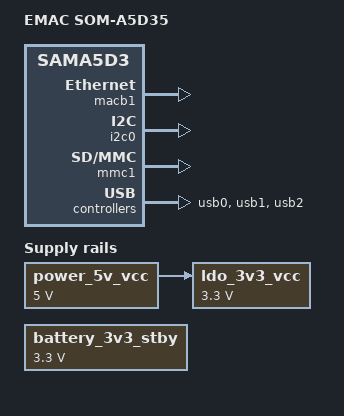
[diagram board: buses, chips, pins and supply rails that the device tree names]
/*
 * som-a5d36.dtsi - Device Tree inclue file for the SOM-A5D36 with SOM-2xx carriers.
 *
 * Copyright (C) 2023 EMAC Inc.
 *
 * This program is free software; you can redistribute it and/or modify
 * it under the terms of the GNU General Public License version 2 as
 * published by the Free Software Foundation.
 */

/dts-v1/;
#include "som-a5d35-bare.dtsi"

/ {
	model = "EMAC SOM-A5D35";
	compatible = "emac,soma5d35", "atmel,sama5d35", "atmel,sama5d3", "atmel,sama5";
	
	regulators {
		power_5v_vcc: power_5v_vcc {
			compatible = "regulator-fixed";
			regulator-name = "POWER";
			regulator-min-microvolt = <5000000>;
			regulator-max-microvolt = <5000000>;
			regulator-always-on;
		};
		ldo_3v3_vcc: ldo_3v3_vcc {
			compatible = "regulator-fixed";
			regulator-name = "3V3_LDO";
			regulator-min-microvolt = <3300000>;
			regulator-max-microvolt = <3300000>;
			regulator-always-on;
			vin-supply = <&power_5v_vcc>;
		};
		battery_3v3_stby: battery_3v3_stby {
			compatible = "regulator-fixed";
			regulator-name = "BATTERY";
			regulator-min-microvolt = <3300000>;
			regulator-max-microvolt = <3300000>;
			regulator-always-on;
		};
		rail_3v3_vcc {
			vin-supply = <&ldo_3v3_vcc>;
		};
		rail_3v3_stby {
			vin-supply = <&battery_3v3_stby>;
		};
	};
};

&macb1 {
	status = "okay";
};

&i2c0 {
	status = "okay";
};

&mmc1 {
	pinctrl-names = "default";
	pinctrl-0 = <&pinctrl_mmc1_clk_cmd_dat0 &pinctrl_mmc1_dat1_3>;
	status = "okay";
	slot@0 {
		reg = <0>;
		bus-width = <4>;
		cd-gpios = <&pioC 13 GPIO_ACTIVE_LOW>;
		no-1-8-v;
	};
};

&usb0 {
	status = "okay";
};

&usb1 {
	status = "okay";
};

&usb2 {
	status = "okay";
};
